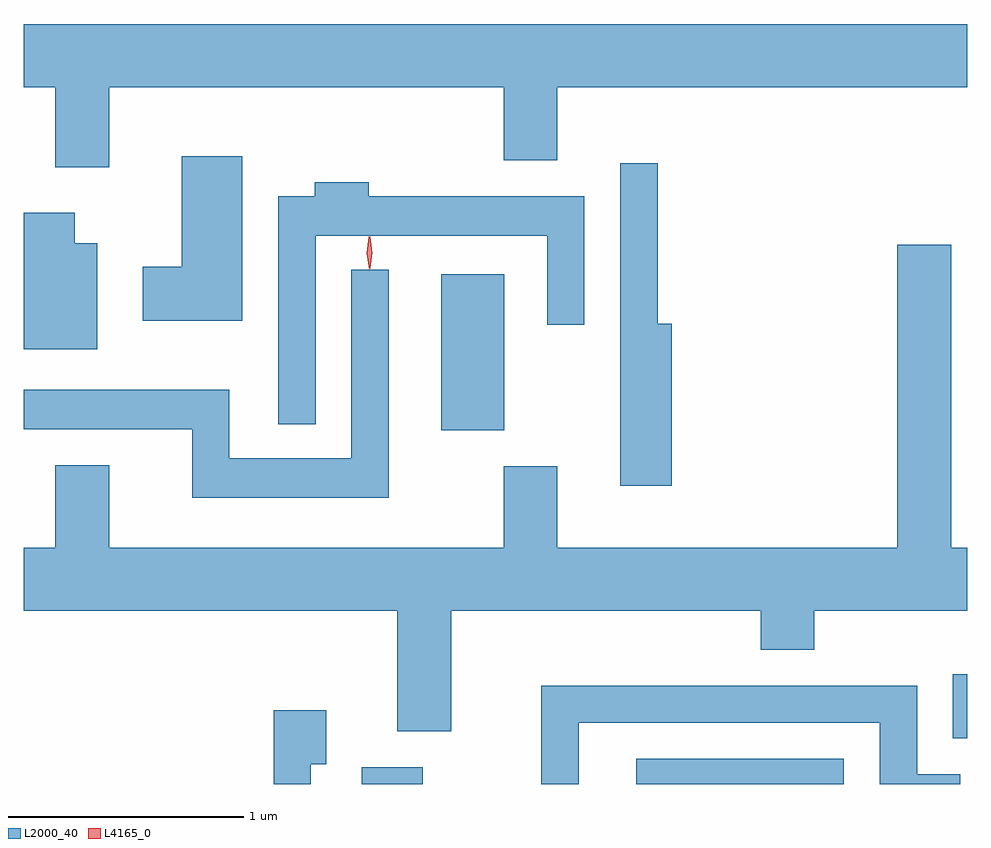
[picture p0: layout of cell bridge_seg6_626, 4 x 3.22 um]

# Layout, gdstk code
import gdstk
lib = gdstk.Library(unit=1e-6, precision=1e-09)
def R(c, l, rs):  # rectangles x0, y0, x1, y1
    for r in rs: c.add(gdstk.rectangle(r[:2], r[2:], *l))
def P(c, l, *ps):  # polygons
    for p in ps: c.add(gdstk.Polygon(p, *l))
L2000_40 = (2000, 40)
L4165_0 = (4165, 0)

bridge_seg6_626 = lib.new_cell('bridge_seg6_626')
R(bridge_seg6_626, L2000_40, [(310.011,1633.662,310.269,1633.734), (311.173,1633.662,312.054,1633.769), (312.516,1633.856,312.577,1634.128), (310.346,1635.161,310.614,1635.824)])
P(bridge_seg6_626, L2000_40, [(308.939,1636.616),(310.611,1636.616),(310.611,1636.306),(310.839,1636.306),(310.839,1636.616),(312.577,1636.616),(312.577,1636.884),(308.577,1636.884),(308.577,1636.616),(308.711,1636.616),(308.711,1636.276),(308.939,1636.276)],
  [(309.504,1636.324),(309.246,1636.324),(309.246,1635.854),(309.081,1635.854),(309.081,1635.626),(309.504,1635.626)],
  [(311.324,1635.614),(311.264,1635.614),(311.264,1636.293),(311.106,1636.293),(311.106,1634.926),(311.324,1634.926)],
  [(309.814,1635.986),(310.796,1635.986),(310.796,1635.608),(310.954,1635.608),(310.954,1636.154),(310.039,1636.154),(310.039,1636.214),(309.811,1636.214),(309.811,1636.154),(309.656,1636.154),(309.656,1635.188),(309.814,1635.188)],
  [(308.889,1635.954),(308.794,1635.954),(308.794,1636.084),(308.577,1636.084),(308.577,1635.506),(308.889,1635.506)],
  [(310.389,1634.396),(311.701,1634.396),(311.701,1634.231),(311.929,1634.231),(311.929,1634.396),(312.577,1634.396),(312.577,1634.664),(312.509,1634.664),(312.509,1635.949),(312.281,1635.949),(312.281,1634.664),(310.839,1634.664),(310.839,1635.009),(310.611,1635.009),(310.611,1634.664),(308.939,1634.664),(308.939,1635.014),(308.711,1635.014),(308.711,1634.664),(308.577,1634.664),(308.577,1634.396),(310.161,1634.396),(310.161,1633.886),(310.389,1633.886)],
  [(310.124,1635.843),(309.966,1635.843),(309.966,1635.044),(309.449,1635.044),(309.449,1635.334),(308.577,1635.334),(308.577,1635.166),(309.291,1635.166),(309.291,1634.876),(310.124,1634.876)],
  [(310.929,1633.921),(312.206,1633.921),(312.206,1633.662),(312.548,1633.662),(312.548,1633.704),(312.364,1633.704),(312.364,1634.079),(310.771,1634.079),(310.771,1633.662),(310.929,1633.662)],
  [(309.794,1633.746),(309.859,1633.746),(309.859,1633.974),(309.636,1633.974),(309.636,1633.662),(309.794,1633.662)])
P(bridge_seg6_626, L4165_0, [(310.041,1635.843),(310.041,1635.844),(310.031,1635.913),(310.04,1635.982),(310.041,1635.983),(310.041,1635.982),(310.051,1635.913),(310.042,1635.844)],
  [(310.045,1635.847),(310.044,1635.848),(310.035,1635.914),(310.044,1635.98),(310.045,1635.981),(310.045,1635.98),(310.055,1635.914),(310.045,1635.848)])

lib.write_gds('bridge_seg6_626.gds')
